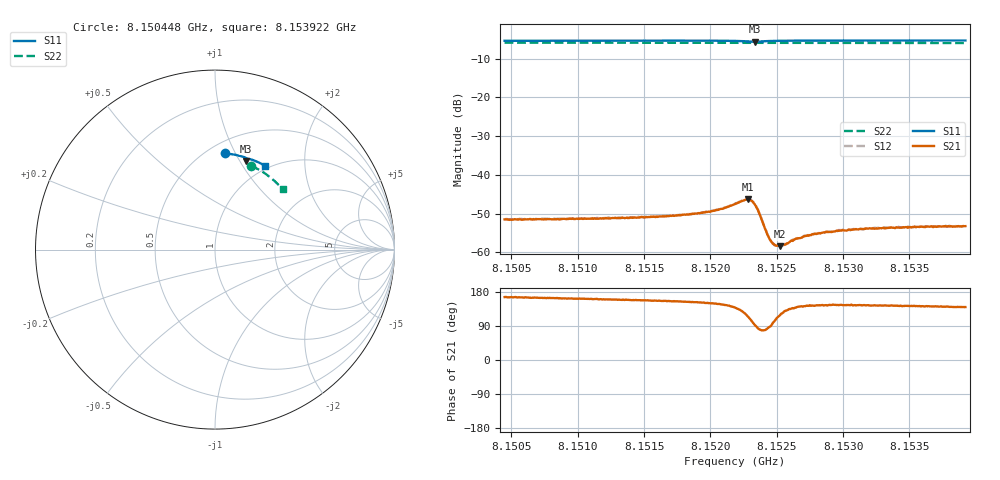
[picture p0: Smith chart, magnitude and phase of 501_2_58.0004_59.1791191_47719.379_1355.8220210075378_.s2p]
#  HZ  S  RI  R  50.00
! Rohde & Schwarz Vector Network Analyzer
! Rohde-Schwarz,ZNB20-2Port,1311601062101988,3.16
! Created: UTC 3/21/2024, 1:12:47 AM
! freq[Hz]  re:S11  im:S11  re:S21  im:S21  re:S12  im:S12  re:S22  im:S22
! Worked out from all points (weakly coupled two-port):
!   401 points, 8.150448 GHz to 8.153922 GHz, reference 50 ohm
!   highest |S21| = -46.33 dB at 8.152281 GHz (marker M1); lowest = -58.4 dB at 8.152524 GHz (marker M2)
!   lowest |S11| = -5.6 dB at 8.152333 GHz (marker M3), VSWR 3.20, Z = 39.2 + j53.4 ohm
!   |S11| at or under -10 dB: nowhere
!   |S22| runs from -5.9 to -5.9 dB; largest |S21 - S12| = 0.00012
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8.1504482e9  0.0538 0.5361  -0.00259 0.000642  -0.00258 0.000689  0.2028 0.4674
8.1510301e9  0.0943 0.5313  -0.00259 0.000852  -0.00258 0.000939  0.2361 0.4507
8.1516119e9  0.1346 0.5234  -0.00267 0.00116  -0.00269 0.00121  0.2679 0.4315
8.1519332e9  0.1576 0.5169  -0.00286 0.00154  -0.00284 0.00161  0.2849 0.4197
8.1520808e9  0.1688 0.5123  -0.00305 0.002  -0.00304 0.00209  0.2925 0.4142
8.152185e9  0.177 0.5068  -0.00315 0.00281  -0.00314 0.00287  0.2978 0.41
8.1522806e9  0.18 0.4966  -0.00208 0.00435  -0.00205 0.00442  0.3023 0.4061
8.1523066e9  0.1777 0.4944  -0.00119 0.0045  -0.00118 0.00458  0.3035 0.4051
8.1523327e9  0.1744 0.4944  -0.00022 0.0042  -0.000181 0.00424  0.3046 0.4041
8.1523587e9  0.1725 0.4968  0.0004 0.00347  0.000433 0.00349  0.3057 0.4033
8.1524195e9  0.1753 0.5032  0.00031 0.00187  0.000347 0.00185  0.3088 0.4013
8.1524456e9  0.1777 0.5046  6.11e-05 0.00148  0.00013 0.00147  0.3104 0.4004
8.1524629e9  0.1795 0.505  -8.45e-05 0.00135  -9.32e-05 0.00135  0.3111 0.3996
8.1524803e9  0.1813 0.5056  -0.000252 0.00125  -0.000231 0.00122  0.3119 0.3989
8.1524977e9  0.183 0.5056  -0.000408 0.00115  -0.000386 0.00116  0.3128 0.3984
8.1525237e9  0.1856 0.5056  -0.000563 0.00107  -0.000565 0.00109  0.3141 0.3972
8.1525758e9  0.1902 0.5052  -0.000857 0.000987  -0.000854 0.00099  0.3167 0.3953
8.1526453e9  0.196 0.5039  -0.00113 0.001  -0.00111 0.00101  0.3202 0.3923
8.1527669e9  0.2049 0.5011  -0.00139 0.00102  -0.00137 0.00104  0.326 0.3872
8.152984e9  0.2201 0.4956  -0.00158 0.00108  -0.00157 0.00114  0.3363 0.3779
8.1533487e9  0.2438 0.4852  -0.00167 0.00124  -0.00166 0.00125  0.3527 0.3618
8.1539218e9  0.2792 0.4668  -0.00167 0.00141  -0.00162 0.00144  0.3768 0.3351
